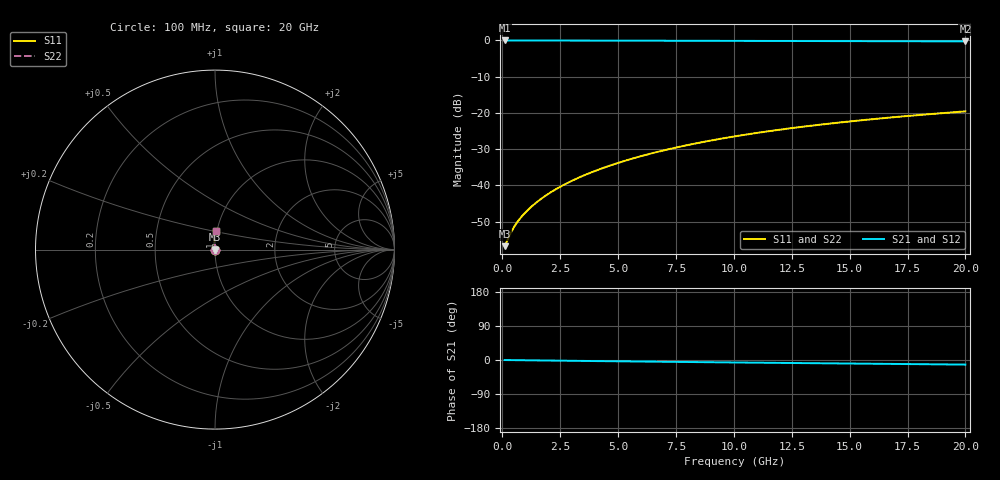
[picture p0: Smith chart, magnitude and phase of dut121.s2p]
! Touchstone file exported from HFSS 2024.1.0
!  File:  C:/UserFiles/LocalFiles/RDL_TSV_Batchsim/temp_RDL_top_121_1778683988.aedt
!  Generated:  10:55:04 PM May 13, 2026
!  Design:  RDL_top
!  Project:  temp_RDL_top_121_1778683988
!  Setup:  Setup1
!  Solution:  Sweep
! Variables:
!  dtsv = 10.80580581um
!  hbump = 3um
!  htsv = 66.29um
!  ldown = 100um
!  lrdl = 170.98um
!  p = 40
!  p1 = 42.03um
!  rhole = 1um
!  t = 450um
!  tdown = 3.915915916um
!  trdl = 2.26um
!  wdown = 15.38538539um
!  wrdl = 28.08um
# GHz S MA R 50.000000
! Terminal data exported
! Port[1] = Box2_T1
! Port[2] = Box2_T2
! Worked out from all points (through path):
!   200 points, 100 MHz to 20 GHz, reference 50 ohm
!   highest |S21| = -0.01 dB at 100 MHz (marker M1); lowest = -0.3 dB at 20 GHz (marker M2)
!   group delay of S21, straight-line fit = 1.66 ps
!   lowest |S11| = -56.7 dB at 100 MHz (marker M3), VSWR 1.00, Z = 50.1 + j0.0473 ohm
!   |S11| at or under -10 dB: start of sweep to end of sweep
!   |S22| runs from -56.7 to -19.6 dB; largest |S21 - S12| = 4.3e-15
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0.1  0.001457 18.9  0.9986 -0.1  0.9986 -0.1  0.001457 18.9
! Gamma 0 0 0 0
! Port Impedance 50 0 50 0
0.4  0.002332 48.5  0.9984 -0.3  0.9984 -0.3  0.002332 48.5
0.5  0.002657 53.1  0.9983 -0.4  0.9983 -0.4  0.002657 53.1
0.6  0.002979 56.8  0.9982 -0.4  0.9982 -0.4  0.002979 56.8
0.7  0.003297 59.8  0.9981 -0.5  0.9981 -0.5  0.003297 59.8
0.9  0.003934 64.9  0.998 -0.7  0.998 -0.7  0.003934 64.9
1.1  0.004583 68.9  0.9978 -0.8  0.9978 -0.8  0.004583 68.9
1.3  0.005247 72.2  0.9977 -0.9  0.9977 -0.9  0.005247 72.2
1.8  0.006986 78.4  0.9973 -1.3  0.9973 -1.3  0.006986 78.4
2.3  0.008831 82.7  0.9968 -1.6  0.9968 -1.6  0.008831 82.7
2.9  0.01118 86.4  0.9961 -2.1  0.9961 -2.1  0.01118 86.4
3.5  0.01366 89.1  0.9953 -2.5  0.9953 -2.5  0.01366 89.1
4.2  0.01674 91.3  0.9942 -2.9  0.9942 -2.9  0.01674 91.3
5  0.02047 93.0  0.9929 -3.5  0.9929 -3.5  0.02047 93.0
5.9  0.02492 94.2  0.9913 -4.0  0.9913 -4.0  0.02491 94.2
6.8  0.02958 94.8  0.9897 -4.6  0.9897 -4.6  0.02958 94.8
8.4  0.03829 94.8  0.9869 -5.6  0.9869 -5.6  0.03828 94.8
10.1  0.04792 94.1  0.984 -6.6  0.984 -6.6  0.04791 94.1
11.7  0.05716 93.1  0.9814 -7.5  0.9814 -7.5  0.05715 93.1
13.4  0.06705 91.7  0.9788 -8.5  0.9788 -8.5  0.06704 91.7
16.7  0.08622 89.0  0.9743 -10.3  0.9743 -10.3  0.0862 88.9
20  0.1051 86.2  0.9701 -12.1  0.9701 -12.1  0.1051 86.2
